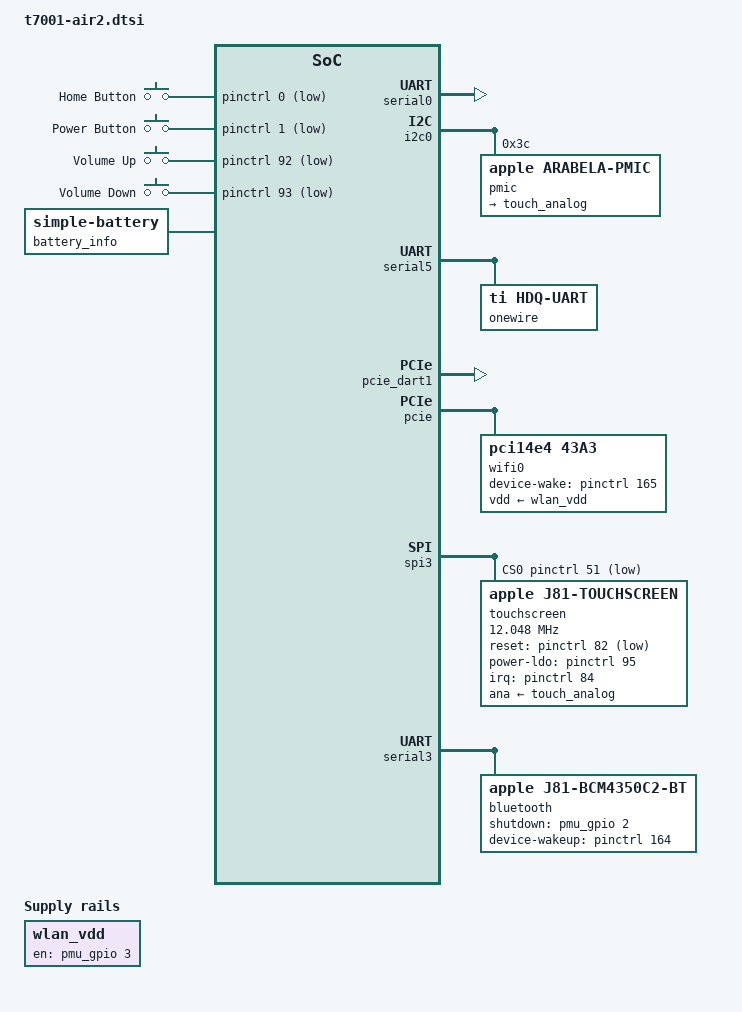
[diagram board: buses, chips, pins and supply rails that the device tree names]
// SPDX-License-Identifier: GPL-2.0+ OR MIT
/*
 * Apple iPad Air 2 common device tree
 * Copyright (c) 2022, Konrad Dybcio <konradybcio@kernel.org>
 */

#include "t7001.dtsi"
#include <dt-bindings/input/input.h>

/ {
	chassis-type = "tablet";

	aliases {
		bluetooth0 = &bluetooth;
		serial3 = &serial3;
		touchscreen0 = &touchscreen;
		wifi0 = &wifi0;
	};

	chosen {
		#address-cells = <2>;
		#size-cells = <2>;
		ranges;

		stdout-path = "serial0";

		framebuffer0: framebuffer@0 {
			compatible = "apple,simple-framebuffer", "simple-framebuffer";
			reg = <0 0 0 0>; /* To be filled by loader */
			power-domains = <&ps_disp0 &ps_dp>;
			/* Format properties will be added by loader */
			status = "disabled";
		};
	};

	gpio-keys {
		compatible = "gpio-keys";

		button-home {
			label = "Home Button";
			gpios = <&pinctrl 0 GPIO_ACTIVE_LOW>;
			linux,code = <KEY_HOMEPAGE>;
			wakeup-source;
		};

		button-power {
			label = "Power Button";
			gpios = <&pinctrl 1 GPIO_ACTIVE_LOW>;
			linux,code = <KEY_POWER>;
			wakeup-source;
		};

		button-volup {
			label = "Volume Up";
			gpios = <&pinctrl 92 GPIO_ACTIVE_LOW>;
			linux,code = <KEY_VOLUMEUP>;
		};

		button-voldown {
			label = "Volume Down";
			gpios = <&pinctrl 93 GPIO_ACTIVE_LOW>;
			linux,code = <KEY_VOLUMEDOWN>;
		};
	};

	memory@800000000 {
		device_type = "memory";
		reg = <0x8 0 0 0>; /* To be filled by loader */
	};

	reserved-memory {
		#address-cells = <2>;
		#size-cells = <2>;
		ranges;

		/* To be filled by loader */
	};

	battery_info: battery {
		compatible = "simple-battery";
		charge-full-design-microamp-hours = <7340000>;
	};

	/* Wi-Fi REG_ON is D2207 GPIO 3. */
	wlan_vdd: regulator-wlan-vdd {
		compatible = "regulator-fixed";
		regulator-name = "wlan-vdd";
		gpio = <&pmu_gpio 3 GPIO_ACTIVE_HIGH>;
		enable-active-high;
		off-on-delay-us = <100000>;
	};
};

&serial0 {
	status = "okay";
};

&i2c0 {
	status = "okay";

	pmic@3c {
		compatible = "apple,arabela-pmic", "apple,i2c-pmic";
		reg = <0x3c>;
		#address-cells = <1>;
		#size-cells = <1>;

		touch_analog: regulator-touch-analog {
			compatible = "apple,d2207-touch-analog-regulator";
			regulator-name = "touch-analog";
		};

		pmu_gpio: gpio {
			compatible = "apple,d2207-pmic-gpio";
			gpio-controller;
			#gpio-cells = <2>;
			/* Only Bluetooth (2) and Wi-Fi (3) REG_ON are used; the other lines stay as iBoot left them. */
			gpio-reserved-ranges = <0 2>, <4 17>;
		};

		rtc@5c0 {
			compatible = "apple,arabela-pmic-rtc", "apple,amber-pmic-rtc";
			reg = <0x5c0 0x10>;
			nvmem-cells = <&rtc_offset>;
			nvmem-cell-names = "rtc_offset";
		};

		backlight@600 {
			compatible = "apple,arabela-pmic-bl", "apple,anya-pmic-bl";
			reg = <0x600 0x2>;
		};

		nvmem@4000 {
			compatible = "apple,pmic-nvmem";
			reg = <0x4000 0x28>;

			nvmem-layout {
				compatible = "fixed-layout";
				#address-cells = <1>;
				#size-cells = <1>;

				rtc_offset: rtc-offset@4 {
					reg = <0x4 0x4>;
				};
			};
		};
	};
};

&serial5 {
	pinctrl-0 = <&uart5_pins>;
	pinctrl-names = "default";
	status = "okay";

	onewire {
		compatible = "ti,hdq-uart";

		battery: fuel-gauge {
			compatible = "ti,bq27545-hdq";
			monitored-battery = <&battery_info>;
		};
	};
};

&pcie_dart1 {
	status = "okay";
};

&pcie {
	iommu-map = <0x100 &pcie_dart1 0 0x0 0x80000000 0x0 0x3ffff000 1>;
	iommu-map-mask = <0xff00>;
	status = "okay";

	pci@1,0 {
		device_type = "pci";
		reg = <0x800 0x0 0x0 0x0 0x0>;
		bus-range = <1 1>;
		reset-gpios = <&pinctrl 179 GPIO_ACTIVE_LOW>;
		max-link-speed = <1>;
		#address-cells = <3>;
		#size-cells = <2>;
		ranges;

		wifi0: wifi@0,0 {
			compatible = "pci14e4,43a3";
			reg = <0x10000 0x0 0x0 0x0 0x0>;
			device-wake-gpios = <&pinctrl 165 GPIO_ACTIVE_HIGH>;
			vdd-supply = <&wlan_vdd>;
		};
	};
};

/*
 * The N1 touchscreen, from the ADT spi3/multi-touch functions: chip select
 * GPIO 51, reset GPIO 82, interrupt GPIO 84, LDO enable GPIO 95, analog
 * supply pmuL(0x20e) and the PMGR touch clock at 32768 Hz. Its display
 * sync (GPIO 55) stays an input, as in iOS.
 */
&spi3 {
	cs-gpios = <&pinctrl 51 GPIO_ACTIVE_LOW>;
	status = "okay";

	touchscreen: touchscreen@0 {
		compatible = "apple,j81-touchscreen";
		reg = <0>;
		/* N1 selects 83 ns; the controller rounds up to divider 5 */
		spi-max-frequency = <12048192>;
		interrupts-extended = <&pinctrl 84 IRQ_TYPE_EDGE_FALLING>;
		reset-gpios = <&pinctrl 82 GPIO_ACTIVE_LOW>;
		power-ldo-gpios = <&pinctrl 95 GPIO_ACTIVE_HIGH>;
		ana-supply = <&touch_analog>;
		clocks = <&touchclk>;
		touchscreen-size-x = <1536>;
		touchscreen-size-y = <2048>;
		/* As the iPad 5's C1F15 sensor; unconfirmed on the Air 2 */
		touchscreen-inverted-y;
	};
};

&touchclk {
	status = "okay";
};

/*
 * The BCM4350C2's Bluetooth on UART3, from the ADT uart3/bluetooth node:
 * 3 Mbit/s, power enable on D2207 GPIO 2, BT_WAKE on GPIO 164. m1n1 adds
 * the device address.
 */
&serial3 {
	pinctrl-0 = <&uart3_pins>;
	pinctrl-names = "default";
	uart-has-rtscts;
	status = "okay";

	bluetooth: bluetooth {
		compatible = "apple,j81-bcm4350c2-bt";
		current-speed = <115200>;
		max-speed = <3000000>;
		shutdown-gpios = <&pmu_gpio 2 GPIO_ACTIVE_HIGH>;
		device-wakeup-gpios = <&pinctrl 164 GPIO_ACTIVE_HIGH>;
	};
};
